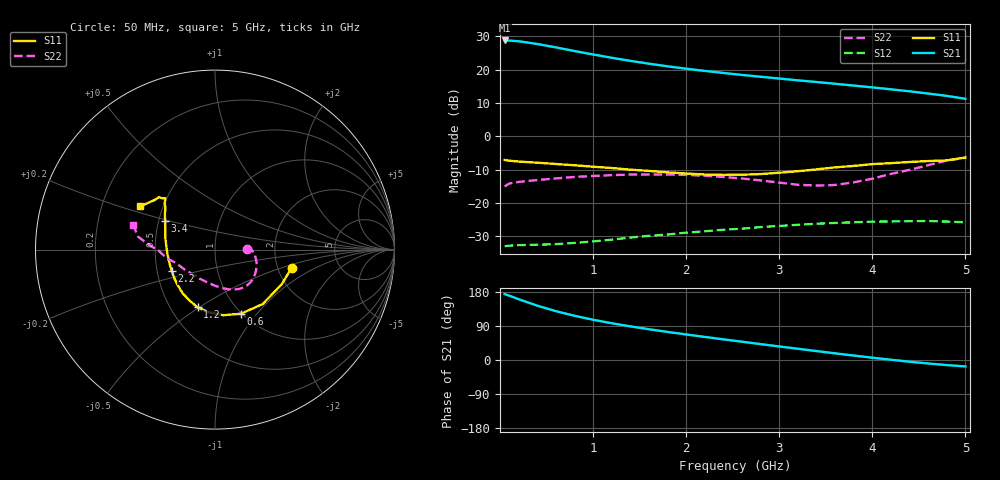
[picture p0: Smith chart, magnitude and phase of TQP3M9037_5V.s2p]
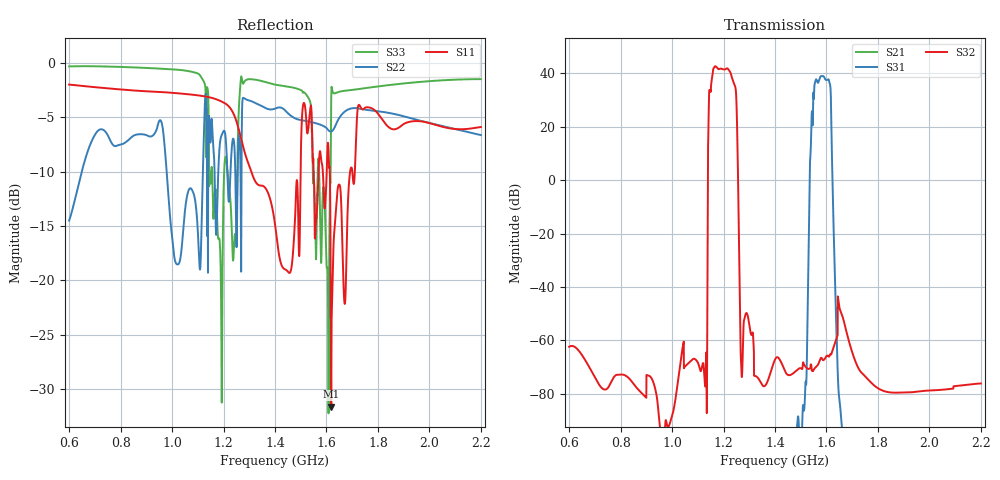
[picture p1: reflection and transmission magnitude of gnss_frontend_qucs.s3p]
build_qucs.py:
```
"""Write the Qucsator-RF netlist of the front end and run it with Qucs-S's qucsator_rf (cross-check #3).

Output: ../QucsS/gnss_frontend.net, ../QucsS/gnss_frontend_qucs.s3p and
../Extracted_Data/crosscheck_qucs.json (difference to the scikit-rf result).
Qucs-S bin folder: env QUCS_BIN, else C:/Program Files/Qucs-S/bin.
"""
import json
import os
import subprocess
from pathlib import Path

import numpy as np
import skrf as rf

import models as M

ROOT = Path(__file__).resolve().parent.parent
OUT = ROOT / "QucsS"
OUT.mkdir(exist_ok=True)
BIN = Path(os.environ.get("QUCS_BIN", "C:/Program Files/Qucs-S/bin"))
TS = (ROOT / "Touchstone").as_posix()
B = M.BIAS
RQ = 2 * np.pi * 1.4e9 * B["l_choke"] / B["l_choke_q"]


def snp(name, nodes, file):
    # polar + cubic matches the scikit-rf reference; rectangular + linear differs by up to 0.07 dB in band
    # because the TQP3M9037 file has only 27 points (0.05-5 GHz)
    return f'SPfile:{name} {" ".join(nodes)} gnd File="{{{TS}/{file}}}" Data="polar" Interpolator="cubic" duringDC="open"\n'


def lna_stage(tag, n_in, n_out):
    return f"""# LNA stage {tag}: DC block -> TQP3M9037 -> bias tee -> DC block (Qorvo eval values)
C:C1_{tag} {n_in} {tag}_c1 C="{B['c_block'] * 1e12:g} pF"
L:ESL1_{tag} {tag}_c1 {tag}_c1b L="{B['c_block_esl'] * 1e9:g} nH"
R:ESR1_{tag} {tag}_c1b {tag}_in R="{B['c_block_esr']:g} Ohm"
{snp("U_" + tag, [tag + "_in", tag + "_out"], "TQP3M9037_5V.s2p")}L:LCHK_{tag} {tag}_out {tag}_l1 L="{B['l_choke'] * 1e9:g} nH"
R:RCHK_{tag} {tag}_l1 {tag}_vdd R="{RQ:.4f} Ohm"
C:CPAR_{tag} {tag}_out {tag}_vdd C="{B['l_choke_cpar'] * 1e12:g} pF"
C:C3_{tag} {tag}_vdd {tag}_c3 C="{B['c_bypass'] * 1e12:g} pF"
L:ESL3_{tag} {tag}_c3 {tag}_c3b L="{B['c_bypass_esl'] * 1e9:g} nH"
R:ESR3_{tag} {tag}_c3b gnd R="0.1 Ohm"
C:C2_{tag} {tag}_out {tag}_c2 C="{B['c_block'] * 1e12:g} pF"
L:ESL2_{tag} {tag}_c2 {tag}_c2b L="{B['c_block_esl'] * 1e9:g} nH"
R:ESR2_{tag} {tag}_c2b {n_out} R="{B['c_block_esr']:g} Ohm"
"""


def branch(tag, port_net, saw_file):
    return (f"# ===== {tag} branch =====\n"
            + snp("CP_" + tag, [port_net, tag + "_lhcp", tag + "_fa", tag + "_fb"], "PatchCP_ideal_RHCP_feed.s4p")
            + f'R:RLHCP_{tag} {tag}_lhcp gnd R="50 Ohm"\n'
            + snp("HYB_" + tag, [tag + "_h1", tag + "_h2", tag + "_fa", tag + "_fb"], "HC125A.s4p")
            + f'R:RISO_{tag} {tag}_h2 gnd R="50 Ohm"\n'
            + lna_stage(tag + "A", tag + "_h1", tag + "_s1i")
            + snp("SAW1_" + tag, [tag + "_s1i", tag + "_s1o"], saw_file)
            + lna_stage(tag + "B", tag + "_s1o", tag + "_s2i")
            + snp("SAW2_" + tag, [tag + "_s2i", tag + "_out"], saw_file))


def main():
    net = f"""# gnss_frontend.net - Project 16 GNSS L1 + L2/L5 active antenna front end (Qucsator-RF netlist)
# generated by Scripts/build_qucs.py; run: qucsator_rf -i gnss_frontend.net -o gnss_frontend.dat
# ports: 1 = L1 virtual RHCP input, 2 = L2/L5 virtual RHCP input, 3 = RF output (to receiver)
Pac:P1 in_l1 gnd Num="1" Z="50 Ohm" P="0 dBm" f="1.5 GHz"
Pac:P2 in_l2 gnd Num="2" Z="50 Ohm" P="0 dBm" f="1.5 GHz"
Pac:P3 rf_out gnd Num="3" Z="50 Ohm" P="0 dBm" f="1.5 GHz"
{branch("L1", "in_l1", "B7504.s2p")}
{branch("L2", "in_l2", "B8889_matched.s2p")}
# ===== combiner =====
{snp("DXP", ["rf_out", "L1_out", "L2_out"], "DXP02A.s3p")}
.SP:SP1 Type="lin" Start="0.6 GHz" Stop="2.2 GHz" Points="3201" Noise="no" NoiseIP="1" NoiseOP="3" saveCVs="no" saveAll="no"
"""
    (OUT / "gnss_frontend.net").write_text(net)
    run = subprocess.run([str(BIN / "qucsator_rf"), "-i", "gnss_frontend.net", "-o", "gnss_frontend.dat"],
                         cwd=OUT, capture_output=True, text=True)
    print(run.stdout.strip()[-400:], run.stderr.strip()[-400:])
    conv = subprocess.run([str(BIN / "qucsconv_rf"), "-if", "qucsdata", "-of", "touchstone",
                           "-i", "gnss_frontend.dat", "-o", "gnss_frontend_qucs.s3p"],
                          cwd=OUT, capture_output=True, text=True)
    print(conv.stdout.strip()[-300:], conv.stderr.strip()[-300:])
    (OUT / "gnss_frontend.dat").unlink(missing_ok=True)   # raw solver output, regenerated on every run
    q = rf.Network(str(OUT / "gnss_frontend_qucs.s3p"))
    ref = rf.Network(str(ROOT / "Touchstone" / "SIM_System_3port.s3p")).interpolate(q.frequency)
    f = q.f
    inband = ((f > 1.164e9) & (f < 1.230e9)) | ((f > 1.559e9) & (f < 1.606e9))
    rep = {}
    for nm, (i, j) in {"S31": (2, 0), "S32": (2, 1), "S11": (0, 0), "S22": (1, 1), "S33": (2, 2)}.items():
        d = 20 * np.log10(abs(q.s[:, i, j])) - 20 * np.log10(abs(ref.s[:, i, j]))
        rep[nm] = dict(max_abs_diff_db_inband=float(abs(d[inband]).max()))
        print(nm, rep[nm])
    (ROOT / "Extracted_Data" / "crosscheck_qucs.json").write_text(json.dumps(rep, indent=1))


if __name__ == "__main__":
    main()
```
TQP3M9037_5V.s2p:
! Project 16: GNSS L1 + L2/L5 active antenna front end (RFMW-ANT)
! Generated by Scripts/simulate.py from Scripts/ds_data.py; format GHz / RI, Z0 = 50 ohm
! EXTRACTED (not estimated): Qorvo TQP3M9037 data sheet, 25 Jul 2017 p.3, VDD=+5 V, IDD=70 mA, 25 C
! Calibrated to the device leads: no DC blocks, no bias choke (add them in the circuit).
! Noise block: measured table p.3 (1.5-2.7 GHz). Below 1.5 GHz see Extracted_Data/assumptions_log.md
# GHz S RI R 50.0
!freq ReS11 ImS11 ReS21 ImS21 ReS12 ImS12 ReS22 ImS22
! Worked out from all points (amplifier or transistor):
!   27 points, 50 MHz to 5 GHz, reference 50 ohm
!   highest |S21| = 28.7 dB at 50 MHz (marker M1)
!   |S21| within 3 dB of that: start of sweep to 769.1 MHz
!   unconditionally stable (mu >= 1): start of sweep to end of sweep
!   at 600 MHz: K = 1.10, MAG = 27.6 dB, |S12| = -32.3 dB
!   at 2.4 GHz: K = 1.37, MAG = 19.8 dB, |S12| = -28.0 dB
!   at 5 GHz: K = 1.46, MAG = 14.5 dB, |S12| = -25.8 dB
!   lowest NFmin = 0.29 dB at 1.7 GHz
!   S11 on the Smith chart (normalised r, x): 50 MHz: 2.40, -0.61; 600 MHz: 0.99, -0.83; 1.2 GHz: 0.68, -0.49; 2.2 GHz: 0.60, -0.15; 3.4 GHz: 0.54, +0.19; 5 GHz: 0.37, +0.23
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0.05  0.4306 -0.1024  -27.2 2.897  0.0224 0.00337  0.1772 0.000619
0.2  0.3727 -0.192  -25.11 8.905  0.0233 0.00232  0.2072 -0.00452
0.4  0.2655 -0.3034  -19.45 14.42  0.0235 0.00364  0.2202 -0.0244
0.6  0.1453 -0.3571  -13.55 16.76  0.0237 0.00494  0.2282 -0.0526
0.8  0.046 -0.3657  -8.538 16.96  0.0245 0.00647  0.2325 -0.0814
1.2  -0.0973 -0.3213  -1.847 14.93  0.027 0.00867  0.2231 -0.1381
1.6  -0.1785 -0.2453  1.88 12.13  0.0304 0.0109  0.1973 -0.1827
2.2  -0.2409 -0.118  4.647 8.356  0.0357 0.0123  0.1353 -0.2189
2.6  -0.2647 -0.0267  5.542 6.215  0.0397 0.0116  0.0757 -0.221
3.4  -0.2783 0.1585  5.98 2.609  0.0485 0.00688  -0.0823 -0.1637
5  -0.4166 0.2412  3.498 -1.063  0.0511 -0.00571  -0.4574 0.139
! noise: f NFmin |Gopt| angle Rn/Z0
1.5  0.4  0.15  14.1  0.0016
1.7  0.29  0.16  43.7  0.0012
1.8  0.3  0.13  55.1  0.0012
1.9  0.3  0.11  30.2  0.0012
2  0.32  0.11  65.3  0.001
2.1  0.32  0.13  77.6  0.001
2.2  0.35  0.14  89  0.001
2.4  0.43  0.06  85.8  0.001
2.5  0.51  0.02  42.1  0.0012
2.7  0.46  0.07  148.6  0.001
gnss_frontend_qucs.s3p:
# HZ S RI R 50
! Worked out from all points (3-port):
!   3201 points, 600 MHz to 2.2 GHz, reference 50 ohm
!   strongest paths, dB at 600 MHz, 1 GHz, 1.4 GHz, 1.8 GHz, 2.2 GHz:
!     S32: -62.4, -88.3, -67.2, -77.9, -76.1
!     S31: -128.5, -120.8, -116.4, -113.4, -95.1
!     S21: -, -, -, -, -
!   lowest |S11| = -31.6 dB at 1.619 GHz (marker M1), VSWR 1.05, Z = 52 + j1.76 ohm
!   |S11| at or under -10 dB: 1.308 GHz to 1.499 GHz (191.7 MHz wide, 13.7 % of centre); 1.55 GHz to 1.569 GHz (19.36 MHz wide, 1.24 % of centre); 1.613 GHz to 1.692 GHz (78.87 MHz wide, 4.77 % of centre)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
6e8  0.6687 0.4285  -7.81e-14 9.62e-14  -3.05e-13 -3.65e-13
     -7.81e-14 9.62e-14  -0.146 0.1185  -6.83e-10 -6.76e-10
     -9.4e-08 3.65e-07  -0.00012 0.00075  -0.025 0.9628
1.1775e9  0.1441 -0.6602  1.54e-10 9.05e-11  -3.9e-13 1.28e-13
          1.54e-10 9.05e-11  0.1337 -0.2277  8.42e-05 -0.000413
          9.58e-08 -7.37e-08  16.85 122.8  -0.0803 0.1431
1.1975e9  0.1387 -0.6444  -6.6e-12 -9.44e-11  -4.03e-13 9.22e-14
          -6.6e-12 -9.44e-11  0.036 -0.4775  -0.000139 0.000398
          9.7e-08 -6.6e-08  -4.282 -119.6  -0.1379 0.0881
1.6185e9  0.02 0.0169  2.38e-08 3.41e-09  -6.04e-05 9.23e-05
          2.38e-08 3.41e-09  -0.386 -0.291  3.91e-09 -1.09e-10
          -6.622 -14.01  -0.000274 0.000476  0.65 0.2432
2.2e9  -0.1527 0.4833  1.48e-12 3.25e-13  2.74e-10 -3.24e-11
       1.48e-12 3.25e-13  -0.1833 0.4276  2.44e-09 -2.14e-10
       3.96e-06 1.72e-05  3.06e-05 0.000154  -0.4405 0.7172
